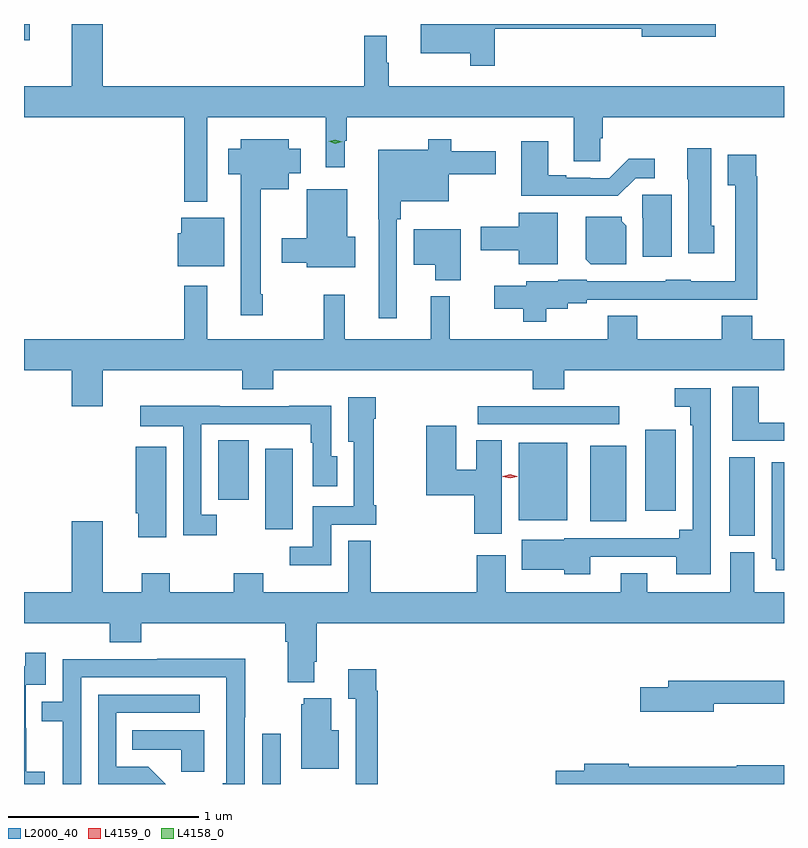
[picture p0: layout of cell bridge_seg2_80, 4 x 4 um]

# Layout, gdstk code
import gdstk
lib = gdstk.Library(unit=1e-6, precision=1e-09)
def R(c, l, rs):  # rectangles x0, y0, x1, y1
    for r in rs: c.add(gdstk.rectangle(r[:2], r[2:], *l))
def P(c, l, *ps):  # polygons
    for p in ps: c.add(gdstk.Polygon(p, *l))
L2000_40 = (2000, 40)
L4158_0 = (4158, 0)
L4159_0 = (4159, 0)

bridge_seg2_80 = lib.new_cell('bridge_seg2_80')
R(bridge_seg2_80, L2000_40, [(333.843,598.839,333.939,599.104), (336.302,600.145,336.436,600.56), (333.86,600.18,334.003,600.604), (335.57,600.221,335.758,600.619), (335.192,600.227,335.449,600.634), (335.858,600.276,336.019,600.703), (333.611,600.336,333.772,600.647), (334.977,600.732,335.722,600.828), (332.589,602.754,332.619,602.839)])
P(bridge_seg2_80, L2000_40, [(333.553,602.348),(334.178,602.348),(334.178,602.085),(334.276,602.085),(334.276,602.225),(334.288,602.225),(334.288,602.348),(335.483,602.348),(335.483,602.116),(335.622,602.116),(335.622,602.238),(335.636,602.238),(335.636,602.348),(336.589,602.348),(336.589,602.512),(334.51,602.512),(334.51,602.636),(334.498,602.636),(334.498,602.776),(334.381,602.776),(334.381,602.512),(333.004,602.512),(333.004,602.839),(332.84,602.839),(332.84,602.512),(332.589,602.512),(332.589,602.348),(333.432,602.348),(333.432,601.904),(333.553,601.904)],
  [(335.066,602.814),(335.84,602.814),(335.84,602.771),(336.229,602.771),(336.229,602.839),(334.676,602.839),(334.676,602.684),(334.938,602.684),(334.938,602.619),(335.066,602.619)],
  [(334.551,601.811),(334.571,601.811),(334.571,601.907),(334.825,601.907),(334.825,602.048),(335.071,602.048),(335.071,602.17),(334.837,602.17),(334.837,602.233),(334.716,602.233),(334.716,602.176),(334.454,602.176),(334.454,601.811),(334.455,601.811),(334.455,601.29),(334.551,601.29)],
  [(333.845,601.417),(333.835,601.417),(333.835,601.97),(333.982,601.97),(333.982,602.053),(334.045,602.053),(334.045,602.182),(333.982,602.182),(333.982,602.233),(333.731,602.233),(333.731,602.182),(333.665,602.182),(333.665,602.048),(333.731,602.048),(333.731,601.305),(333.845,601.305)],
  [(335.808,602.028),(335.908,602.028),(335.908,602.131),(335.773,602.131),(335.67,602.028),(335.57,602.028),(335.57,602.031),(335.443,602.031),(335.443,602.044),(335.347,602.044),(335.347,602.221),(335.207,602.221),(335.207,601.934),(335.714,601.934)],
  [(336.223,601.776),(336.205,601.776),(336.205,602.185),(336.08,602.185),(336.08,602.022),(336.086,602.022),(336.086,601.632),(336.223,601.632)],
  [(335.338,601.34),(335.452,601.34),(335.452,601.37),(335.55,601.37),(335.55,601.389),(335.967,601.389),(335.967,601.388),(336.199,601.388),(336.199,601.389),(336.449,601.389),(336.449,602.039),(336.442,602.039),(336.442,602.152),(336.293,602.152),(336.293,601.991),(336.333,601.991),(336.333,601.486),(336.099,601.486),(336.099,601.492),(335.967,601.492),(335.967,601.485),(335.55,601.485),(335.55,601.492),(335.4,601.492),(335.4,601.486),(335.232,601.486),(335.232,601.462),(335.064,601.462),(335.064,601.34),(335.217,601.34),(335.217,601.271),(335.338,601.271)],
  [(334.333,601.719),(334.291,601.719),(334.291,601.969),(334.076,601.969),(334.076,601.711),(333.945,601.711),(333.945,601.582),(334.076,601.582),(334.076,601.559),(334.333,601.559)],
  [(335.998,601.941),(335.842,601.941),(335.842,601.818),(335.846,601.818),(335.846,601.614),(335.998,601.614)],
  [(335.398,601.846),(335.192,601.846),(335.192,601.771),(334.992,601.771),(334.992,601.649),(335.192,601.649),(335.192,601.574),(335.398,601.574)],
  [(335.758,601.778),(335.736,601.8),(335.736,601.825),(335.546,601.825),(335.546,601.6),(335.572,601.574),(335.758,601.574)],
  [(333.643,601.819),(333.416,601.819),(333.416,601.737),(333.398,601.737),(333.398,601.565),(333.643,601.565)],
  [(334.888,601.759),(334.64,601.759),(334.64,601.571),(334.754,601.571),(334.754,601.49),(334.888,601.49)],
  [(333.004,601.016),(333.737,601.016),(333.737,600.917),(333.902,600.917),(333.902,601.016),(335.267,601.016),(335.267,600.917),(335.432,600.917),(335.432,601.016),(336.589,601.016),(336.589,601.18),(336.422,601.18),(336.422,601.304),(336.262,601.304),(336.262,601.18),(335.817,601.18),(335.817,601.304),(335.662,601.304),(335.662,601.18),(334.83,601.18),(334.83,601.405),(334.73,601.405),(334.73,601.18),(334.277,601.18),(334.277,601.414),(334.167,601.414),(334.167,601.18),(333.553,601.18),(333.553,601.462),(333.432,601.462),(333.432,601.18),(332.589,601.18),(332.589,601.016),(332.84,601.016),(332.84,600.828),(333.004,600.828)],
  [(336.589,600.741),(336.457,600.741),(336.457,600.931),(336.317,600.931),(336.317,600.645),(336.589,600.645)],
  [(335.569,600.036),(336.023,600.036),(336.023,599.942),(336.204,599.942),(336.204,600.921),(336.015,600.921),(336.015,600.825),(336.096,600.825),(336.096,600.728),(336.108,600.728),(336.108,600.178),(336.038,600.178),(336.038,600.132),(335.433,600.132),(335.433,600.124),(335.21,600.124),(335.21,599.966),(335.433,599.966),(335.433,599.942),(335.569,599.942)],
  [(334.206,600.204),(334.444,600.204),(334.444,600.307),(334.429,600.307),(334.429,600.761),(334.439,600.761),(334.439,600.874),(334.295,600.874),(334.295,600.641),(334.325,600.641),(334.325,600.3),(334.11,600.3),(334.11,600.087),(333.987,600.087),(333.987,599.99),(334.206,599.99)],
  [(333.604,600.255),(333.522,600.255),(333.522,600.732),(334.098,600.732),(334.098,600.635),(334.11,600.635),(334.11,600.405),(334.237,600.405),(334.237,600.564),(334.206,600.564),(334.206,600.83),(333.985,600.83),(333.985,600.828),(333.619,600.828),(333.619,600.83),(333.201,600.83),(333.201,600.722),(333.426,600.722),(333.426,600.147),(333.604,600.147)],
  [(335.104,600.647),(334.97,600.647),(334.97,600.493),(334.864,600.493),(334.864,600.724),(334.706,600.724),(334.706,600.359),(334.958,600.359),(334.958,600.156),(335.104,600.156)],
  [(333.337,600.613),(333.176,600.613),(333.176,600.264),(333.191,600.264),(333.191,600.138),(333.337,600.138)],
  [(336.589,600.532),(336.524,600.532),(336.524,600.024),(336.545,600.024),(336.545,599.964),(336.589,599.964)],
  [(334.117,599.482),(334.13,599.482),(334.13,599.684),(336.589,599.684),(336.589,599.848),(336.433,599.848),(336.433,600.06),(336.305,600.06),(336.305,599.848),(335.869,599.848),(335.869,599.947),(335.729,599.947),(335.729,599.848),(335.125,599.848),(335.125,600.043),(334.973,600.043),(334.973,599.848),(334.414,599.848),(334.414,600.119),(334.295,600.119),(334.295,599.848),(333.849,599.848),(333.849,599.947),(333.694,599.947),(333.694,599.848),(333.357,599.848),(333.357,599.947),(333.209,599.947),(333.209,599.848),(333.004,599.848),(333.004,600.223),(332.84,600.223),(332.84,599.848),(332.589,599.848),(332.589,599.684),(333.041,599.684),(333.041,599.585),(333.206,599.585),(333.206,599.684),(333.965,599.684),(333.965,599.588),(333.977,599.588),(333.977,599.375),(334.117,599.375)],
  [(332.698,598.903),(332.6,598.903),(332.6,599.132),(332.598,599.132),(332.598,599.361),(332.703,599.361),(332.703,599.53),(332.595,599.53),(332.595,599.46),(332.589,599.46),(332.589,598.839),(332.698,598.839)],
  [(332.889,599.4),(333.654,599.4),(333.654,598.842),(333.635,598.842),(333.635,598.839),(333.75,598.839),(333.75,599.191),(333.753,599.191),(333.753,599.498),(333.289,599.498),(333.289,599.496),(332.793,599.496),(332.793,599.271),(332.683,599.271),(332.683,599.17),(332.793,599.17),(332.793,598.839),(332.889,598.839)],
  [(334.451,599.33),(334.444,599.33),(334.444,599.443),(334.295,599.443),(334.295,599.287),(334.335,599.287),(334.335,598.839),(334.451,598.839)],
  [(336.22,599.262),(336.589,599.262),(336.589,599.383),(335.981,599.383),(335.981,599.349),(335.832,599.349),(335.832,599.219),(336.22,599.219)],
  [(333.244,598.929),(333.075,598.929),(333.075,599.214),(333.514,599.214),(333.514,599.31),(332.979,599.31),(332.979,598.839),(333.334,598.839)],
  [(334.246,599.122),(334.207,599.122),(334.207,599.29),(334.061,599.29),(334.061,599.259),(334.049,599.259),(334.049,598.919),(334.246,598.919)],
  [(333.538,599.122),(333.16,599.122),(333.16,599.018),(333.417,599.018),(333.417,598.903),(333.538,598.903)],
  [(336.589,598.939),(336.341,598.939),(336.341,598.931),(335.772,598.931),(335.772,598.946),(335.537,598.946),(335.537,598.91),(335.388,598.91),(335.388,598.839),(336.589,598.839)])
P(bridge_seg2_80, L4158_0, [(334.227,602.21),(334.192,602.221),(334.192,602.221),(334.192,602.222),(334.228,602.23),(334.264,602.219),(334.264,602.219),(334.264,602.218)])
P(bridge_seg2_80, L4159_0, [(335.147,600.448),(335.109,600.457),(335.108,600.458),(335.109,600.458),(335.147,600.468),(335.185,600.458),(335.185,600.458),(335.185,600.457)])

lib.write_gds('bridge_seg2_80.gds')
